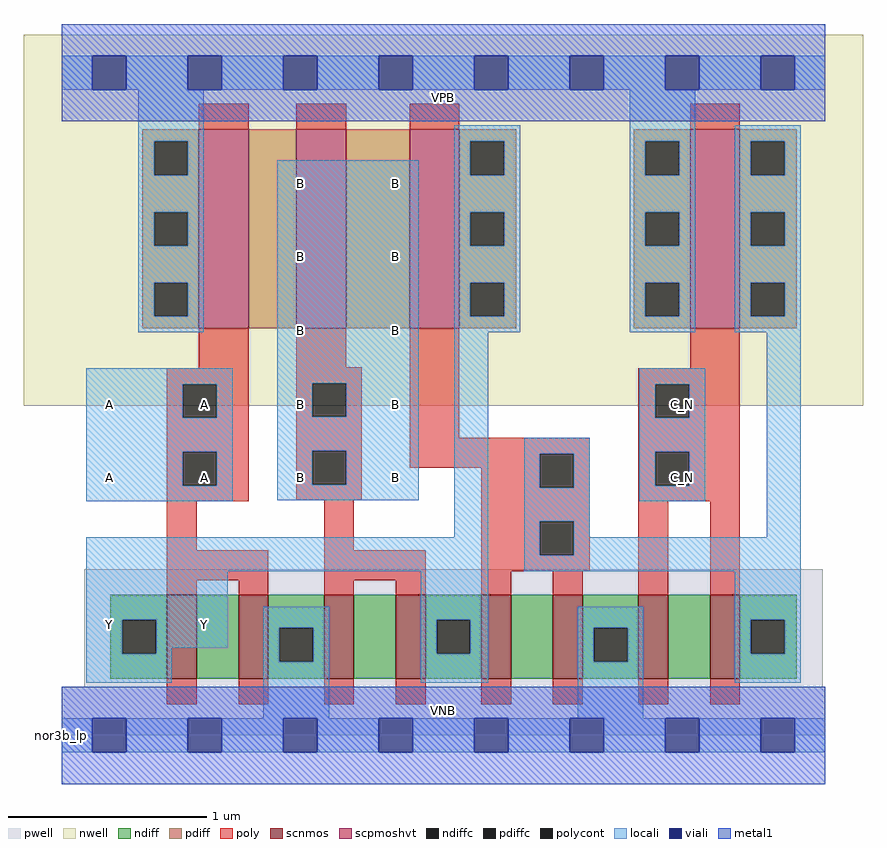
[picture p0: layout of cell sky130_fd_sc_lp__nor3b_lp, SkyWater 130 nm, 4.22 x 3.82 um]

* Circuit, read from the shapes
.subckt sky130_fd_sc_lp__nor3b_lp A B C_N VGND VNB VPB VPWR Y
XM1 n1 A Y VNB sky130_fd_pr__nfet_01v8 w=0.42 l=0.15
XM2 VGND A n1 VNB sky130_fd_pr__nfet_01v8 w=0.42 l=0.15
XM3 n2 B VGND VNB sky130_fd_pr__nfet_01v8 w=0.42 l=0.15
XM4 Y B n2 VNB sky130_fd_pr__nfet_01v8 w=0.42 l=0.15
XM5 n3 n4 Y VNB sky130_fd_pr__nfet_01v8 w=0.42 l=0.15
XM6 VGND n4 n3 VNB sky130_fd_pr__nfet_01v8 w=0.42 l=0.15
XM7 n5 C_N VGND VNB sky130_fd_pr__nfet_01v8 w=0.42 l=0.15
XM8 n4 C_N n5 VNB sky130_fd_pr__nfet_01v8 w=0.42 l=0.15
XM9 n6 A VPWR VPB sky130_fd_pr__pfet_01v8_hvt w=1 l=0.25
XM10 n7 B n6 VPB sky130_fd_pr__pfet_01v8_hvt w=1 l=0.25
XM11 Y n4 n7 VPB sky130_fd_pr__pfet_01v8_hvt w=1 l=0.25
XM12 n4 C_N VPWR VPB sky130_fd_pr__pfet_01v8_hvt w=1 l=0.25
.ends

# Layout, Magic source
magic
tech sky130A
magscale 1 2
<< nwell >>
rect -38 331 806 704
<< pwell >>
rect 23 49 765 167
rect 0 0 768 49
<< scnmos >>
rect 106 57 136 141
rect 178 57 208 141
rect 264 57 294 141
rect 336 57 366 141
rect 422 57 452 141
rect 494 57 524 141
rect 580 57 610 141
rect 652 57 682 141
<< scpmoshvt >>
rect 138 409 188 609
rect 236 409 286 609
rect 350 409 400 609
rect 632 409 682 609
<< ndiff >>
rect 49 116 106 141
rect 49 82 61 116
rect 95 82 106 116
rect 49 57 106 82
rect 136 57 178 141
rect 208 108 264 141
rect 208 74 219 108
rect 253 74 264 108
rect 208 57 264 74
rect 294 57 336 141
rect 366 116 422 141
rect 366 82 377 116
rect 411 82 422 116
rect 366 57 422 82
rect 452 57 494 141
rect 524 108 580 141
rect 524 74 535 108
rect 569 74 580 108
rect 524 57 580 74
rect 610 57 652 141
rect 682 116 739 141
rect 682 82 693 116
rect 727 82 739 116
rect 682 57 739 82
<< pdiff >>
rect 81 597 138 609
rect 81 563 93 597
rect 127 563 138 597
rect 81 526 138 563
rect 81 492 93 526
rect 127 492 138 526
rect 81 455 138 492
rect 81 421 93 455
rect 127 421 138 455
rect 81 409 138 421
rect 188 409 236 609
rect 286 409 350 609
rect 400 597 457 609
rect 400 563 411 597
rect 445 563 457 597
rect 400 526 457 563
rect 400 492 411 526
rect 445 492 457 526
rect 400 455 457 492
rect 400 421 411 455
rect 445 421 457 455
rect 400 409 457 421
rect 575 597 632 609
rect 575 563 587 597
rect 621 563 632 597
rect 575 526 632 563
rect 575 492 587 526
rect 621 492 632 526
rect 575 455 632 492
rect 575 421 587 455
rect 621 421 632 455
rect 575 409 632 421
rect 682 597 739 609
rect 682 563 693 597
rect 727 563 739 597
rect 682 526 739 563
rect 682 492 693 526
rect 727 492 739 526
rect 682 455 739 492
rect 682 421 693 455
rect 727 421 739 455
rect 682 409 739 421
<< ndiffc >>
rect 61 82 95 116
rect 219 74 253 108
rect 377 82 411 116
rect 535 74 569 108
rect 693 82 727 116
<< pdiffc >>
rect 93 563 127 597
rect 93 492 127 526
rect 93 421 127 455
rect 411 563 445 597
rect 411 492 445 526
rect 411 421 445 455
rect 587 563 621 597
rect 587 492 621 526
rect 587 421 621 455
rect 693 563 727 597
rect 693 492 727 526
rect 693 421 727 455
<< poly >>
rect 138 609 188 635
rect 236 609 286 635
rect 350 609 400 635
rect 632 609 682 635
rect 138 369 188 409
rect 106 353 188 369
rect 106 319 122 353
rect 156 319 188 353
rect 106 285 188 319
rect 106 251 122 285
rect 156 251 188 285
rect 106 235 188 251
rect 236 370 286 409
rect 236 354 302 370
rect 236 320 252 354
rect 286 320 302 354
rect 236 286 302 320
rect 236 252 252 286
rect 286 252 302 286
rect 350 299 400 409
rect 632 369 682 409
rect 580 353 682 369
rect 580 319 597 353
rect 631 319 682 353
rect 350 283 531 299
rect 350 269 481 283
rect 236 236 302 252
rect 422 249 481 269
rect 515 249 531 283
rect 106 186 136 235
rect 264 186 294 236
rect 422 215 531 249
rect 106 156 208 186
rect 106 141 136 156
rect 178 141 208 156
rect 264 156 366 186
rect 264 141 294 156
rect 336 141 366 156
rect 422 181 481 215
rect 515 181 531 215
rect 422 165 531 181
rect 580 285 682 319
rect 580 251 597 285
rect 631 251 682 285
rect 580 235 682 251
rect 422 141 452 165
rect 494 141 524 165
rect 580 141 610 235
rect 652 141 682 235
rect 106 31 136 57
rect 178 31 208 57
rect 264 31 294 57
rect 336 31 366 57
rect 422 31 452 57
rect 494 31 524 57
rect 580 31 610 57
rect 652 31 682 57
<< polycont >>
rect 122 319 156 353
rect 122 251 156 285
rect 252 320 286 354
rect 252 252 286 286
rect 597 319 631 353
rect 481 249 515 283
rect 481 181 515 215
rect 597 251 631 285
<< locali >>
rect 0 649 31 683
rect 65 649 127 683
rect 161 649 223 683
rect 257 649 319 683
rect 353 649 415 683
rect 449 649 511 683
rect 545 649 607 683
rect 641 649 703 683
rect 737 649 768 683
rect 77 597 143 649
rect 77 563 93 597
rect 127 563 143 597
rect 395 597 461 613
rect 77 526 143 563
rect 77 492 93 526
rect 127 492 143 526
rect 77 455 143 492
rect 77 421 93 455
rect 127 421 143 455
rect 77 405 143 421
rect 25 353 172 369
rect 25 319 122 353
rect 156 319 172 353
rect 25 285 172 319
rect 25 251 122 285
rect 156 251 172 285
rect 25 235 172 251
rect 217 354 359 578
rect 217 320 252 354
rect 286 320 359 354
rect 217 286 359 320
rect 217 252 252 286
rect 286 252 359 286
rect 217 236 359 252
rect 395 563 411 597
rect 445 563 461 597
rect 395 526 461 563
rect 395 492 411 526
rect 445 492 461 526
rect 395 455 461 492
rect 395 421 411 455
rect 445 421 461 455
rect 395 405 461 421
rect 571 597 637 649
rect 571 563 587 597
rect 621 563 637 597
rect 571 526 637 563
rect 571 492 587 526
rect 621 492 637 526
rect 571 455 637 492
rect 571 421 587 455
rect 621 421 637 455
rect 571 405 637 421
rect 677 597 743 613
rect 677 563 693 597
rect 727 563 743 597
rect 677 526 743 563
rect 677 492 693 526
rect 727 492 743 526
rect 677 455 743 492
rect 677 421 693 455
rect 727 421 743 455
rect 677 405 743 421
rect 395 199 429 405
rect 581 353 647 369
rect 581 319 597 353
rect 631 319 647 353
rect 25 165 429 199
rect 465 283 531 299
rect 465 249 481 283
rect 515 249 531 283
rect 465 215 531 249
rect 581 285 647 319
rect 581 251 597 285
rect 631 251 647 285
rect 581 235 647 251
rect 465 181 481 215
rect 515 199 531 215
rect 709 199 743 405
rect 515 181 743 199
rect 465 165 743 181
rect 25 116 167 165
rect 25 82 61 116
rect 95 88 167 116
rect 203 108 269 129
rect 95 82 111 88
rect 25 53 111 82
rect 203 74 219 108
rect 253 74 269 108
rect 203 17 269 74
rect 361 116 429 165
rect 361 82 377 116
rect 411 82 429 116
rect 361 53 429 82
rect 519 108 585 129
rect 519 74 535 108
rect 569 74 585 108
rect 519 17 585 74
rect 677 116 743 165
rect 677 82 693 116
rect 727 82 743 116
rect 677 53 743 82
rect 0 -17 31 17
rect 65 -17 127 17
rect 161 -17 223 17
rect 257 -17 319 17
rect 353 -17 415 17
rect 449 -17 511 17
rect 545 -17 607 17
rect 641 -17 703 17
rect 737 -17 768 17
<< viali >>
rect 31 649 65 683
rect 127 649 161 683
rect 223 649 257 683
rect 319 649 353 683
rect 415 649 449 683
rect 511 649 545 683
rect 607 649 641 683
rect 703 649 737 683
rect 31 -17 65 17
rect 127 -17 161 17
rect 223 -17 257 17
rect 319 -17 353 17
rect 415 -17 449 17
rect 511 -17 545 17
rect 607 -17 641 17
rect 703 -17 737 17
<< metal1 >>
rect 0 683 768 715
rect 0 649 31 683
rect 65 649 127 683
rect 161 649 223 683
rect 257 649 319 683
rect 353 649 415 683
rect 449 649 511 683
rect 545 649 607 683
rect 641 649 703 683
rect 737 649 768 683
rect 0 617 768 649
rect 0 17 768 49
rect 0 -17 31 17
rect 65 -17 127 17
rect 161 -17 223 17
rect 257 -17 319 17
rect 353 -17 415 17
rect 449 -17 511 17
rect 545 -17 607 17
rect 641 -17 703 17
rect 737 -17 768 17
rect 0 -49 768 -17
<< labels >>
flabel pwell s 0 0 768 49 0 FreeSans 200 0 0 0 VNB
port 5 nsew ground bidirectional
flabel nwell s 0 617 768 666 0 FreeSans 200 0 0 0 VPB
port 6 nsew power bidirectional
rlabel comment s 0 0 0 0 4 nor3b_lp
flabel metal1 s 0 617 768 666 0 FreeSans 340 0 0 0 VPWR
port 7 nsew power bidirectional
flabel metal1 s 0 0 768 49 0 FreeSans 340 0 0 0 VGND
port 4 nsew ground bidirectional
flabel locali s 607 242 641 276 0 FreeSans 340 0 0 0 C_N
port 3 nsew signal input
flabel locali s 607 316 641 350 0 FreeSans 340 0 0 0 C_N
port 3 nsew signal input
flabel locali s 223 242 257 276 0 FreeSans 340 0 0 0 B
port 2 nsew signal input
flabel locali s 223 316 257 350 0 FreeSans 340 0 0 0 B
port 2 nsew signal input
flabel locali s 223 390 257 424 0 FreeSans 340 0 0 0 B
port 2 nsew signal input
flabel locali s 223 464 257 498 0 FreeSans 340 0 0 0 B
port 2 nsew signal input
flabel locali s 223 538 257 572 0 FreeSans 340 0 0 0 B
port 2 nsew signal input
flabel locali s 319 242 353 276 0 FreeSans 340 0 0 0 B
port 2 nsew signal input
flabel locali s 319 316 353 350 0 FreeSans 340 0 0 0 B
port 2 nsew signal input
flabel locali s 319 390 353 424 0 FreeSans 340 0 0 0 B
port 2 nsew signal input
flabel locali s 319 464 353 498 0 FreeSans 340 0 0 0 B
port 2 nsew signal input
flabel locali s 319 538 353 572 0 FreeSans 340 0 0 0 B
port 2 nsew signal input
flabel locali s 31 242 65 276 0 FreeSans 340 0 0 0 A
port 1 nsew signal input
flabel locali s 31 316 65 350 0 FreeSans 340 0 0 0 A
port 1 nsew signal input
flabel locali s 127 242 161 276 0 FreeSans 340 0 0 0 A
port 1 nsew signal input
flabel locali s 127 316 161 350 0 FreeSans 340 0 0 0 A
port 1 nsew signal input
flabel locali s 31 94 65 128 0 FreeSans 340 0 0 0 Y
port 8 nsew signal output
flabel locali s 127 94 161 128 0 FreeSans 340 0 0 0 Y
port 8 nsew signal output
<< properties >>
string LEFsite unit
string LEFclass CORE
string FIXED_BBOX 0 0 768 666
string GDS_FILE $PDKPATH/libs.ref/sky130_fd_sc_lp/gds/sky130_fd_sc_lp.gds
string LEFsymmetry X Y R90
string GDS_END 1218040
string GDS_START 1210202
<< end >>
